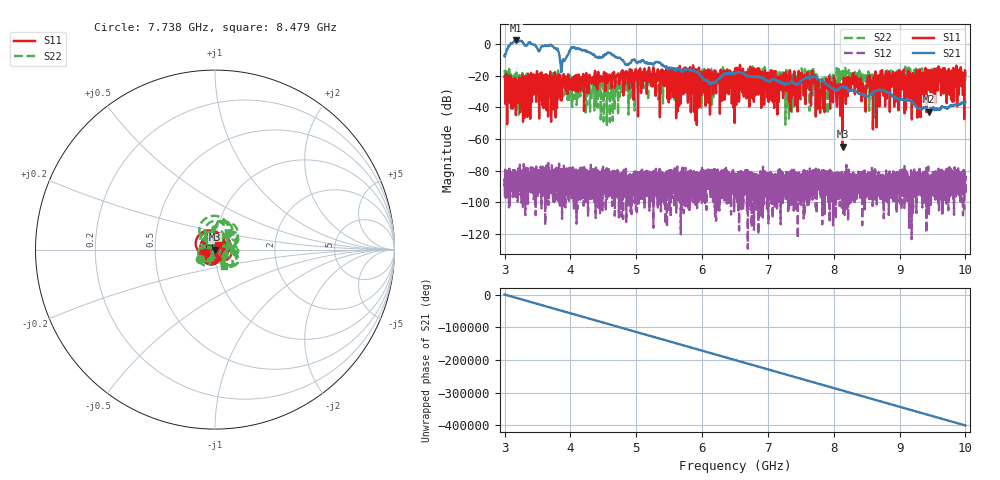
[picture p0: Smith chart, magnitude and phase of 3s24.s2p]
!Agilent Technologies,E8363B,MY43030572,A.06.04.32
!Agilent E8363B: A.06.04.32
!Date: Monday, June 06, 2011 14:47:46
!Correction: S11(Full 2 Port(1,2)) S21(Full 2 Port(1,2)) S12(Full 2 Port(1,2)) S22(Full 2 Port(1,2))
!S2P File: Measurements: S11, S21, S12, S22:
# Hz S  dB  R 50
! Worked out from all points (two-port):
!   6401 points, 3 GHz to 10 GHz, reference 50 ohm
!   highest |S21| = 2.20 dB at 3.167 GHz (marker M1); lowest = -42.8 dB at 9.447 GHz (marker M2)
!   |S21| within 3 dB of the highest: 3.076 GHz to 3.301 GHz (224.6 MHz wide, 7.04 % of centre); 3.339 GHz to 3.466 GHz (127.1 MHz wide, 3.74 % of centre)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
!   lowest |S11| = -64.9 dB at 8.134 GHz (marker M3), VSWR 1.00, Z = 50.1 + j0.00895 ohm
!   |S11| at or under -10 dB: start of sweep to end of sweep
!   |S22| runs from -51.2 to -14.2 dB; largest |S21 - S12| = 1.3
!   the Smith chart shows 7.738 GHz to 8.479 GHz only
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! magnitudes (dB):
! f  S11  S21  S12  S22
! 3 GHz  -20.8  -7.5  -85.2  -16.4
! 3.167 GHz  -27.8  2.2  -90.9  -27.0
! 3.714 GHz  -21.4  -0.9  -92.3  -21.7
! 3.877 GHz  -22.1  -11.7  -91.4  -22.3
! 4.018 GHz  -26.3  -2.1  -79.8  -28.7
! 4.167 GHz  -22.5  -3.7  -85.8  -24.2
! 4.648 GHz  -21.2  -7.0  -90.8  -29.1
! 5.131 GHz  -16.2  -11.9  -86.7  -19.3
! 5.334 GHz  -19.4  -11.4  -88.1  -30.1
! 6.139 GHz  -22.0  -25.3  -85.8  -16.3
! 6.5 GHz  -19.1  -18.4  -82.7  -21.7
! 7.281 GHz  -28.8  -25.3  -94.9  -16.6
! 7.667 GHz  -17.8  -20.9  -86.2  -18.8
! 7.83 GHz  -24.2  -23.3  -93.4  -20.8
! 7.904 GHz  -26.8  -26.1  -86.8  -31.3
! 8.134 GHz  -64.9  -27.1  -90.5  -23.5
! 8.275 GHz  -22.5  -28.9  -86.0  -19.9
! 8.455 GHz  -27.1  -32.3  -90.1  -21.7
! 8.543 GHz  -20.1  -32.3  -86.9  -24.1
! 8.834 GHz  -19.5  -30.8  -98.1  -20.9
! 9.447 GHz  -21.4  -42.8  -107.4  -19.3
! 10 GHz  -19.2  -36.3  -94.1  -19.5
